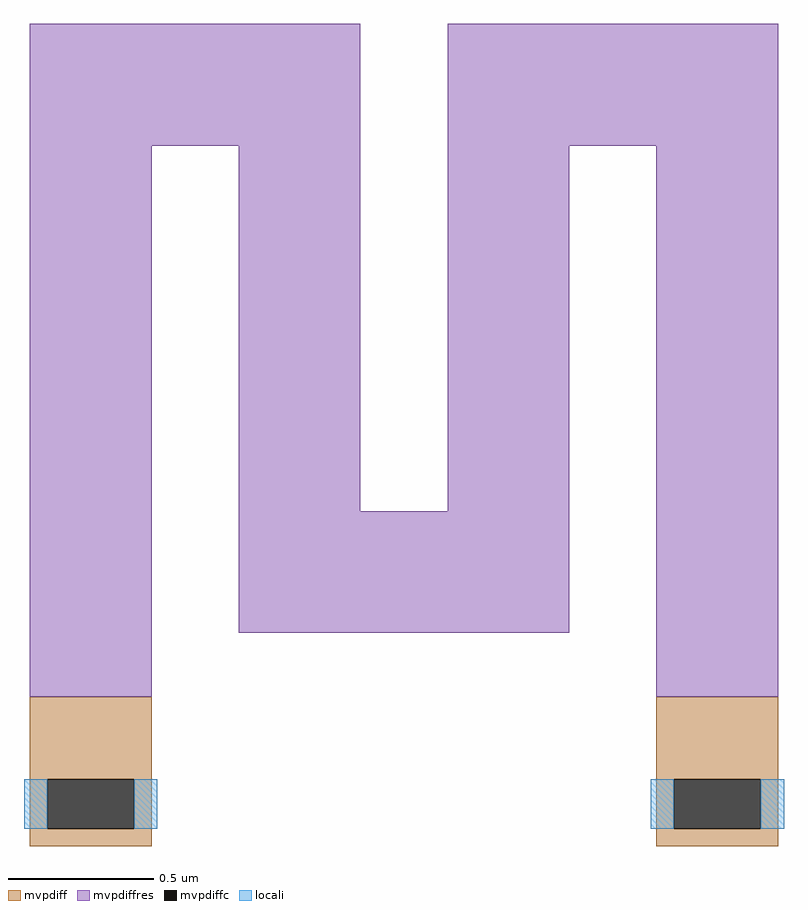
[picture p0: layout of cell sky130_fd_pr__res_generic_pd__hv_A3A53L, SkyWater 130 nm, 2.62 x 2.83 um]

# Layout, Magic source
magic
tech sky130A
magscale 1 2
<< mvpdiff >>
rect -258 -237 -174 -180
rect -258 -271 -246 -237
rect -186 -271 -174 -237
rect -258 -283 -174 -271
rect 174 -237 258 -180
rect 174 -271 186 -237
rect 246 -271 258 -237
rect 174 -283 258 -271
<< mvpdiffc >>
rect -246 -271 -186 -237
rect 186 -271 246 -237
<< mvpdiffres >>
rect -258 200 -30 284
rect -258 -180 -174 200
rect -114 -52 -30 200
rect 30 200 258 284
rect 30 -52 114 200
rect -114 -136 114 -52
rect 174 -180 258 200
<< locali >>
rect -262 -271 -246 -237
rect -186 -271 -170 -237
rect 170 -271 186 -237
rect 246 -271 262 -237
<< properties >>
string gencell sky130_fd_pr__res_generic_pd__hv
string library sky130
string parameters w 0.42 l 2.1 m 1 nx 4 wmin 0.42 lmin 2.10 rho 197 val 5.614k dummy 0 dw 0.02 term 0.0 sterm 0.0 caplen 0.60 snake 1 guard 0 glc 1 grc 1 gtc 1 gbc 1 roverlap 0 endcov 100 full_metal 1 vias 1 viagb 0 viagt 0 viagl 0 viagr 0
<< end >>
